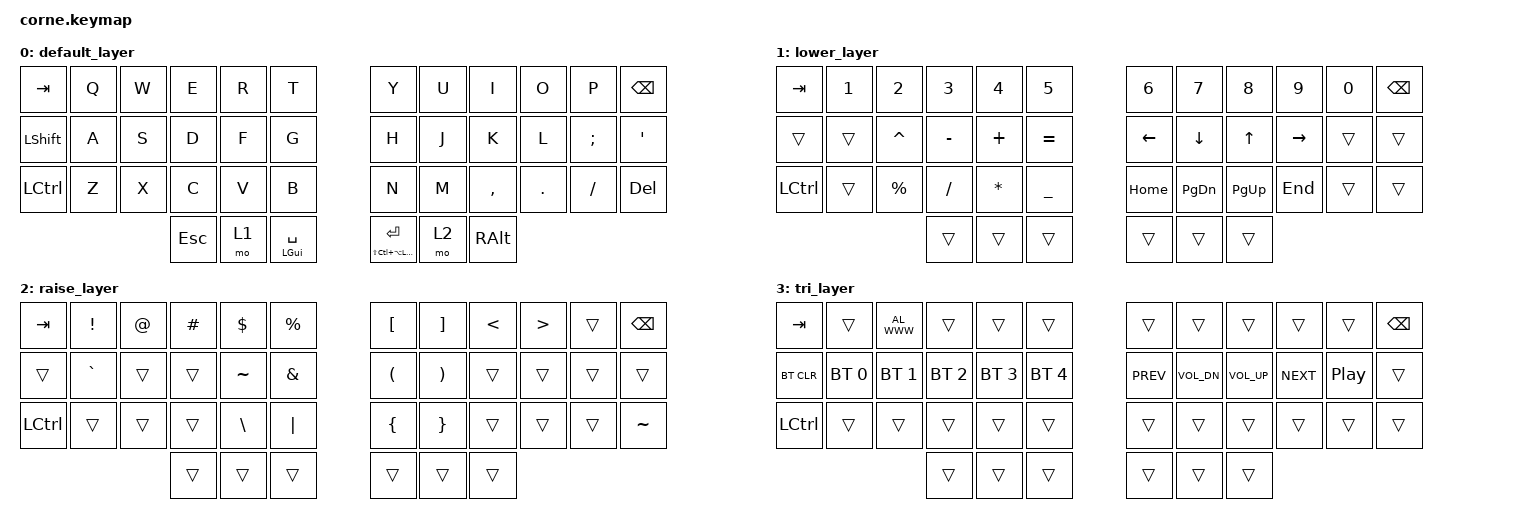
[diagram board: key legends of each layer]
/*
 * Copyright (c) 2020 The ZMK Contributors
 *
 * SPDX-License-Identifier: MIT
 */

#include <behaviors.dtsi>
#include <dt-bindings/zmk/keys.h>
#include <dt-bindings/zmk/bt.h>

#define HYP LS(LC(LA(LGUI)))


/ {
    conditional_layers {
        compatible = "zmk,conditional-layers";
        tri_layer {
            if-layers = <1 2>;
            then-layer = <3>;
        };
    };

    keymap {
        compatible = "zmk,keymap";
        default_layer {
            bindings = <
            //╭────────────┬────────────┬────────────┬────────────┬────────────┬────────────╮   ╭────────────┬────────────┬────────────┬────────────┬────────────┬────────────╮
            //| TAB       | Q         | W         | E         | R         | T         |   | Y        | U         | I         | O         | P         | BKSP      |
                &kp TAB     &kp Q       &kp W       &kp E       &kp R       &kp T           &kp Y       &kp U       &kp I       &kp O       &kp P       &kp BSPC
            //├────────────┼────────────┼────────────┼────────────┼────────────┼────────────┤   ├────────────┼────────────┼────────────┼────────────┼────────────┼────────────┤
            //| SHIFT     | A         | S         | D         | F         | G         |   | H        | J         | K         | L         | ;        | '          |
                &kp LSHFT   &kp A     &kp S       &kp D      &kp F       &kp G           &kp H       &kp J       &kp K       &kp L       &kp SEMI    &kp SQT
            //├────────────┼────────────┼────────────┼────────────┼────────────┼────────────┤   ├────────────┼────────────┼────────────┼────────────┼────────────┼────────────┤   
            //| CTRL      | Z         | X         | C         | V         | B         |   | N        | M         | ,         | .         | /         | DEL       |
                &kp LCTRL   &kp Z       &kp X       &kp C       &kp V       &kp B           &kp N       &kp M       &kp COMMA   &kp DOT     &kp FSLH   &kp DEL
            //╰────────────┴────────────┴────────────┼────────────┼────────────┼────────────┤   ├────────────┼────────────┼────────────┼────────────┴────────────┴────────────╯
            //                                    | ESC       | LWR       | SPC(GUI)  |   | ENT       | RSE      | ALT       |
                                                    &kp ESC    &mo 1       &mt LGUI SPACE  &mt HYP RET &mo 2      &kp RALT
            //                                    ╰────────────┴────────────┴────────────╯   ╰────────────┴────────────┴────────────╯
                >;
            };
            
        lower_layer {
            bindings = <
            //╭──────────────┬──────────────┬─────────────┬─────────────┬─────────────┬─────────────╮   ╭─────────────┬──────────────┬─────────────┬─────────────┬─────────────┬─────────────╮
            //| TAB         | 1          | 2          | 3          | 4          | 5          |   | 6          | 7          | 8          | 9          | 0          | BKSP       |
                &kp TAB       &kp N1       &kp N2       &kp N3       &kp N4       &kp N5           &kp N6       &kp N7       &kp N8       &kp N9       &kp N0       &kp BSPC
            //├──────────────┬──────────────┬─────────────┬─────────────┬─────────────┬─────────────┤   ├─────────────┬──────────────┬─────────────┬─────────────┬─────────────┬─────────────┤
            //| SHIFT       |            | ^          | -          | +          | =          |   | LEFT       | DOWN       | UP         | RIGHT      |            |            |
                &trans       &trans       &kp CARET     &kp MINUS    &kp PLUS     &kp EQUAL       &kp LEFT     &kp DOWN     &kp UP       &kp RIGHT    &trans       &trans
            //├──────────────┬──────────────┬─────────────┬─────────────┬─────────────┬─────────────┤   ├─────────────┬──────────────┬─────────────┬─────────────┬─────────────┬─────────────┤   
            //| CTRL        |             | %         | /          | *          | _          |   | HOME       | PAGE DN    | PAGE UP    | END        |            |            |
                &kp LCTRL     &trans        &kp PRCNT   &kp FSLH     &kp STAR     &kp UNDER        &kp HOME     &kp PG_DN    &kp PG_UP    &kp END      &trans       &trans
            //╰──────────────┴──────────────┴─────────────┬─────────────┬─────────────┬─────────────┤   ├─────────────┬──────────────┬─────────────┬─────────────┴─────────────┴─────────────╯
            //                                        | ESC        |            | SPC(GUI)   |   | ENT        |            | ALT        |
                                                        &trans      &trans        &trans           &trans      &trans        &trans
            //                                        ╰─────────────┴─────────────┴─────────────╯   ╰──────────────┴─────────────┴─────────────╯
                >;
            };



        raise_layer {
            bindings = <
            //╭────────────┬────────────┬────────────┬────────────┬────────────┬────────────╮   ╭────────────┬────────────┬────────────┬────────────┬────────────┬────────────╮
            //| TAB       | !         | @         | #         | $        | %          |  |  [        | ]         | lt        | gt        |           | BKSP     |
                &kp  TAB    &kp EXCL    &kp AT      &kp HASH    &kp DLLR    &kp PRCNT       &kp LBKT    &kp RBKT    &kp LT     &kp GT      &trans      &kp BSPC
            //├────────────┼────────────┼────────────┼────────────┼────────────┼────────────┤   ├────────────┼────────────┼────────────┼────────────┼────────────┼───────────┤
            //| SHIFT     | `         |           |           | ~         | &         |  | (         | )         |           |           |           | `        |
                &trans      &kp GRAVE &trans      &trans      &kp TILDE   &kp AMPS        &kp LPAR    &kp RPAR   &trans      &trans      &trans      &trans
            //├────────────┼────────────┼────────────┼────────────┼────────────┼────────────┤   ├────────────┼────────────┼────────────┼────────────┼────────────┼───────────┤   
            //| CTRL      |           |           |           | \         | '|'       |  | {         | }         |           |           |           |          |
                &kp LCTRL   &trans      &trans      &trans      &kp BSLH     &kp PIPE      &kp LBRC    &kp RBRC    &trans      &trans      &trans      &kp TILDE
            //╰────────────┴────────────┴────────────┼────────────┼────────────┼────────────┤   ├────────────┼────────────┼────────────┼────────────┴────────────┴───────────╯
            //                                    | ESC       |          | SPC(GUI)  |  | ENT       |           | ALT       |
                                                    &trans      &trans     &trans          &trans      &trans      &trans
            //                                    ╰────────────┴────────────┴────────────╯   ╰────────────┴────────────┴────────────╯
                >;
            };

        tri_layer {
            bindings = <
            //╭─────────────┬──────────────┬─────────────┬────────────┬────────────┬────────────╮   ╭────────────┬────────────┬────────────┬────────────┬────────────┬────────────╮
            //| TAB        |            |            |           |           |           |   |           |           |           |           |           | BKSP      |
                &kp  TAB    &trans        &kp C_AL_WWW &trans      &trans      &trans          &trans      &trans      &trans      &trans      &trans      &kp BSPC
            //├─────────────┼──────────────┼─────────────┼────────────┼────────────┼────────────┤   ├────────────┼────────────┼────────────┼────────────┼────────────┼────────────┤
            //| BT CLR     | BT1        | BT2        | BT3       | BT4       | BT5       |   | PREV      | VOL DN    | VOL UP    | Next      | Play      |           |
                &bt BT_CLR   &bt BT_SEL 0 &bt BT_SEL 1 &bt BT_SEL 2 &bt BT_SEL 3 &bt BT_SEL 4  &kp C_PREV  &kp C_VOL_DN &kp C_VOL_UP &kp C_NEXT &kp C_PP  &trans
            //├─────────────┼──────────────┼─────────────┼────────────┼────────────┼────────────┤   ├────────────┼────────────┼────────────┼────────────┼────────────┼────────────┤   
            //| SHFT       |            |            |           |           |           |   |           |           |           |           |           |           |
                &kp LCTRL   &trans       &trans        &trans      &trans      &trans          &trans      &trans      &trans      &trans      &trans      &trans
            //╰─────────────┴──────────────┴─────────────┼────────────┼────────────┼────────────┤   ├────────────┼────────────┼────────────┼────────────┴────────────┴────────────╯
            //                                       | GUI       |           | SPC       |   | ENT       |           | ALT       |
                                                       &trans      &trans      &trans          &trans      &trans      &trans
            //                                       ╰────────────┴────────────┴────────────╯   ╰─────────────┴────────────┴────────────╯
                >;
            };
        };
    };
